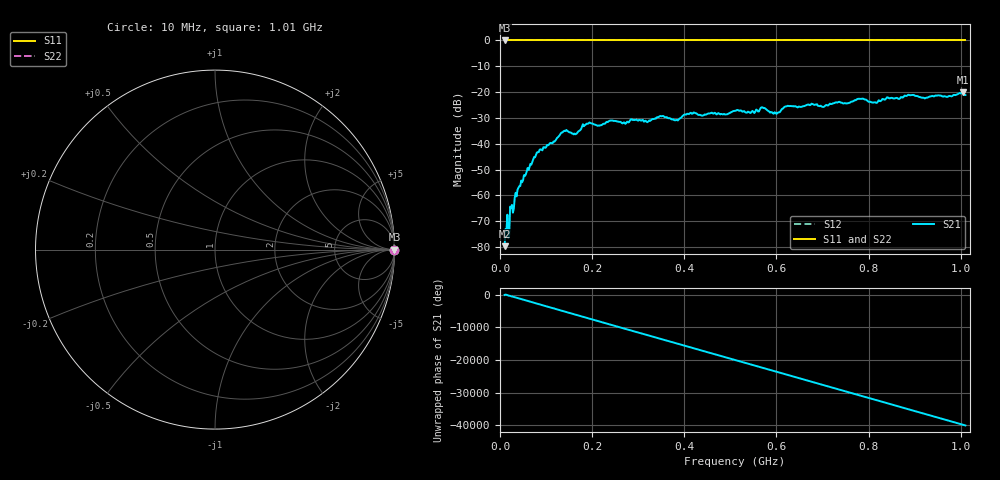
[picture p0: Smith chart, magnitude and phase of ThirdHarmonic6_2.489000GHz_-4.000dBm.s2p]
! 8/17/2025 4:41:43 AM
! C:\ANRITSUVNA\TEMP\TEMP.S2P
! CHANNEL.1
! TR.MEASUREMENT
! RAW.DATA
! RF.CORRECTION.OFF
! AVERAGING.OFF
! IF.BANDWIDTH: 5KHZ
! SWEEPTYPE:  FREQ.SWEEP(Linear)
! Reference Plane Port Info
! PORT:  PORT1  PORT2
! DISTANCE:  0  m  0  m
! TIME:  0  s  0  s
! PHASE.OFFSET:  0  deg.  0  deg.
! LOSS:  0  dB  0  dB
! REF.LOSS:  0  dB  0  dB
! REF.FREQ:  0  Hz  0  Hz
! Power Info
! POWER:  -20  dBm  -20  dBm
! EFF.POWER:  -20  dBm  -20  dBm
! SOURCE.ATTEN:  0  dB  0  dB
! TEST.ATTEN:  0  dB  0  dB
# GHZ S RI R 50.0
! FREQ.GHZ  S11RE  S11IM  S21RE  S21IM  S12RE  S12IM  S22RE  S22IM
!; PortSelection: Port_12
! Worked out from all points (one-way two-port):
!   501 points, 10 MHz to 1.01 GHz, reference 50 ohm
!   highest |S21| = -20.13 dB at 1.004 GHz (marker M1); lowest = -79.7 dB at 10 MHz (marker M2)
!   lowest |S11| = 0.0 dB at 10 MHz (marker M3)
!   |S11| at or under -10 dB: nowhere
!   |S22| runs from 0.0 to 0.0 dB; largest |S21 - S12| = 1.1
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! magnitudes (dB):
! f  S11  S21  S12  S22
! 10 MHz  0.0  -79.7  0.0  0.0
! 36 MHz  0.0  -60.4  0.0  0.0
! 78 MHz  0.0  -44.3  0.0  0.0
! 136 MHz  0.0  -35.6  0.0  0.0
! 164 MHz  0.0  -36.3  0.0  0.0
! 178 MHz  0.0  -33.4  0.0  0.0
! 192 MHz  0.0  -32.2  0.0  0.0
! 344 MHz  0.0  -29.7  0.0  0.0
! 382 MHz  0.0  -30.9  0.0  0.0
! 410 MHz  0.0  -28.5  0.0  0.0
! 510 MHz  0.0  -27.2  0.0  0.0
! 548 MHz  0.0  -27.3  0.0  0.0
! 570 MHz  0.0  -25.9  0.0  0.0
! 598 MHz  0.0  -28.1  0.0  0.0
! 622 MHz  0.0  -25.5  0.0  0.0
! 678 MHz  0.0  -24.6  0.0  0.0
! 702 MHz  0.0  -25.8  0.0  0.0
! 782 MHz  0.0  -22.6  0.0  0.0
! 814 MHz  0.0  -23.9  0.0  0.0
! 844 MHz  0.0  -22.4  0.0  0.0
! 1.004 GHz  0.0  -20.1  0.0  0.0
! 1.01 GHz  0.0  -21.1  0.0  0.0
